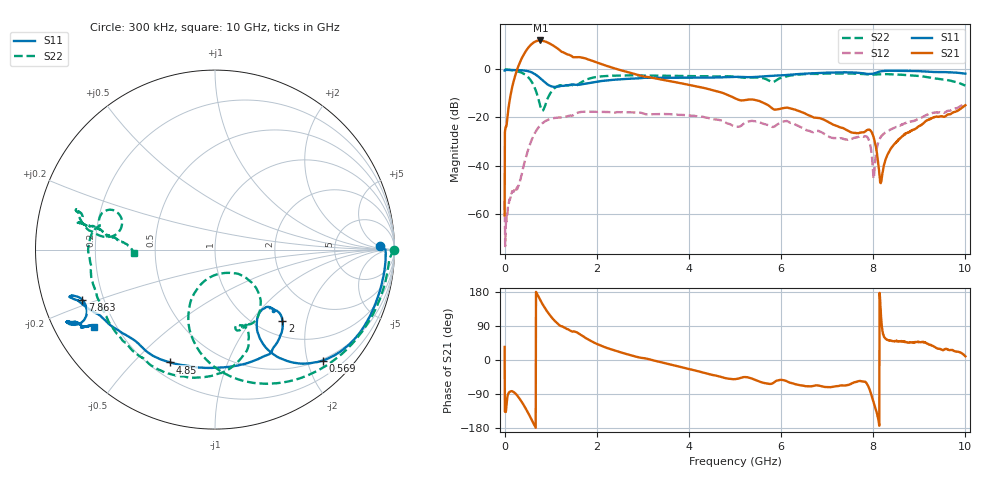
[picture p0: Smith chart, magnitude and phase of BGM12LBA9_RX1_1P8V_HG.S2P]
!Agilent Technologies,E5071C,MY46316587,B.13.01
!Date: Tue Sep 12 11:06:44 2017
!Data & Calibration Information:
!Freq	S11:SOLT2(ON)	S21:SOLT2(ON)	S12:SOLT2(ON)	S22:SOLT2(ON)
!PortZ  Port1:50+j0  Port2:50+j0
!Above PortZ is port z conversion or system Z0 setting when saving the data.
!When reading, reference impedance value at option line is always used.
# Hz S dB R 50
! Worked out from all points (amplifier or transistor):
!   1601 points, 300 kHz to 10 GHz, reference 50 ohm
!   highest |S21| = 11.7 dB at 775.3 MHz (marker M1)
!   |S21| within 3 dB of that: 513.4 MHz to 1.125 GHz (611.6 MHz wide, 74.7 % of centre)
!   unconditionally stable (mu >= 1): start of sweep to end of sweep
!   at 1.663 GHz: K = 1.52, MAG = 7.0 dB, |S12| = -17.7 dB
!   at 5 GHz: K = 8.94, MAG = -6.7 dB, |S12| = -23.8 dB
!   at 10 GHz: K = 3.84, MAG = -9.2 dB, |S12| = -14.2 dB
!   lowest NFmin = 0.68 dB at 950 MHz
!   S11 on the Smith chart (normalised r, x): 300 kHz: 23, +6; 569 MHz: 0.47, -2.28; 2 GHz: 1.29, -1.45; 4.85 GHz: 0.28, -0.64; 7.863 GHz: 0.12, -0.18; 10 GHz: 0.12, -0.29
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300000  -0.71 1.3  -60.38 34.4  -54.45 -170.3  -0.04 0.0
5.654831e7  -0.43 -4.0  -20.88 -100.5  -60.06 114.0  -0.29 -9.7
3.127906e8  -0.54 -22.7  1.78 -99.9  -47.40 135.8  -1.15 -52.0
4.565363e8  -0.75 -34.9  7.21 -127.7  -36.90 163.9  -2.51 -77.7
5.690329e8  -1.29 -45.8  9.92 -153.2  -30.15 154.5  -4.77 -98.3
6.752798e8  -2.38 -55.7  11.33 -178.7  -25.85 137.7  -8.82 -113.6
7.752768e8  -3.91 -62.0  11.72 158.0  -23.22 121.0  -15.45 -104.7
8.565243e8  -5.30 -63.1  11.42 140.7  -21.87 108.0  -16.26 -57.5
9.440217e8  -6.55 -60.3  10.77 124.6  -20.95 95.9  -11.78 -42.0
1.169015e9  -7.30 -47.7  8.14 94.0  -20.06 74.2  -6.93 -58.9
1.669e9  -6.40 -44.9  4.67 65.2  -17.73 50.5  -5.47 -69.4
2.00024e9  -5.27 -46.5  2.66 42.6  -17.71 33.3  -3.31 -86.0
2.568973e9  -4.23 -54.7  -0.81 18.4  -17.88 17.4  -2.67 -108.1
3.3377e9  -3.68 -67.8  -4.16 -4.3  -18.62 3.5  -2.81 -131.5
4.850154e9  -3.40 -111.6  -10.83 -49.1  -22.63 -21.7  -3.05 177.8
5.00015e9  -3.31 -118.2  -12.15 -50.5  -23.78 -15.6  -3.20 172.6
6.66885e9  -1.83 -159.0  -19.70 -69.2  -26.02 -23.1  -2.05 164.7
7.862564e9  -2.05 -159.2  -25.26 -62.7  -27.94 -15.5  -2.29 165.0
8.01256e9  -1.90 -153.0  -28.47 -113.4  -45.13 -164.2  -2.38 167.9
8.162555e9  -1.02 -151.8  -47.12 132.2  -28.08 81.8  -2.19 169.0
8.33755e9  -0.76 -153.5  -34.30 51.5  -25.43 65.6  -2.20 168.9
1e10  -1.96 -147.5  -14.99 9.7  -14.24 14.9  -6.87 -177.7
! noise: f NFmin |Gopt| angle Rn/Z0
6.5e+08  0.7415  0.4246  38.81  0.245
7e+08  0.7327  0.3671  41.05  0.1941
7.5e+08  0.7161  0.4508  42.1  0.1868
8e+08  0.7034  0.4509  45.39  0.2423
8.5e+08  0.6965  0.4345  43.76  0.1691
9e+08  0.6786  0.449  45.74  0.1736
9.5e+08  0.6757  0.4362  47.14  0.1729
1e+09  0.6856  0.4349  49.46  0.1728
